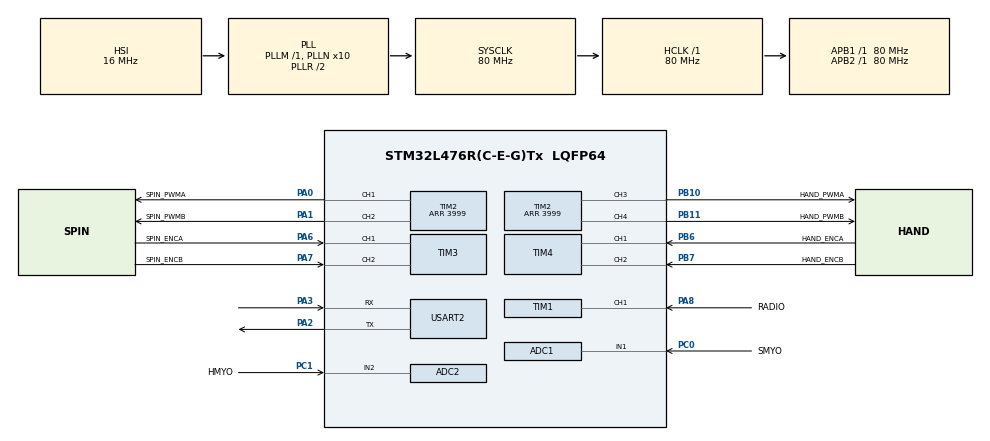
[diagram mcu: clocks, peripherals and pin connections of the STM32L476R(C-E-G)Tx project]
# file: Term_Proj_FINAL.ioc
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ADC1.Channel-1\#ChannelRegularConversion=ADC_CHANNEL_1
ADC1.NbrOfConversionFlag=1
ADC1.OffsetNumber-1\#ChannelRegularConversion=ADC_OFFSET_NONE
ADC1.Rank-1\#ChannelRegularConversion=1
ADC1.SamplingTime-1\#ChannelRegularConversion=ADC_SAMPLETIME_2CYCLES_5
ADC1.master=1
ADC2.Channel-0\#ChannelRegularConversion=ADC_CHANNEL_2
ADC2.NbrOfConversionFlag=1
ADC2.OffsetNumber-0\#ChannelRegularConversion=ADC_OFFSET_NONE
ADC2.Rank-0\#ChannelRegularConversion=1
ADC2.SamplingTime-0\#ChannelRegularConversion=ADC_SAMPLETIME_2CYCLES_5
Mcu.Family=STM32L4
Mcu.Name=STM32L476R(C-E-G)Tx
Mcu.Package=LQFP64
NVIC.PriorityGroup=NVIC_PRIORITYGROUP_4
NVIC.TIM1_CC_IRQn=true\:0\:0\:false\:false\:true\:true\:true\:true
PA0.GPIO_Label=SPIN_PWMA
PA0.Signal=S_TIM2_CH1
PA1.GPIO_Label=SPIN_PWMB
PA1.Signal=S_TIM2_CH2
PA13\ (JTMS-SWDIO).Mode=Serial_Wire
PA13\ (JTMS-SWDIO).Signal=SYS_JTMS-SWDIO
PA14\ (JTCK-SWCLK).Mode=Serial_Wire
PA14\ (JTCK-SWCLK).Signal=SYS_JTCK-SWCLK
PA2.Mode=Asynchronous
PA2.Signal=USART2_TX
PA3.Mode=Asynchronous
PA3.Signal=USART2_RX
PA6.GPIO_Label=SPIN_ENCA
PA6.Signal=S_TIM3_CH1
PA7.GPIO_Label=SPIN_ENCB
PA7.Signal=S_TIM3_CH2
PA8.GPIO_Label=RADIO
PA8.Signal=S_TIM1_CH1
PB10.GPIO_Label=HAND_PWMA
PB10.Signal=S_TIM2_CH3
PB11.GPIO_Label=HAND_PWMB
PB11.Signal=S_TIM2_CH4
PB6.GPIO_Label=HAND_ENCA
PB6.Signal=S_TIM4_CH1
PB7.GPIO_Label=HAND_ENCB
PB7.Signal=S_TIM4_CH2
PC0.GPIO_Label=SMYO
PC0.Signal=ADCx_IN1
PC1.GPIO_Label=HMYO
PC1.Signal=ADCx_IN2
PH0-OSC_IN\ (PH0).Mode=HSE-External-Clock-Source
PH0-OSC_IN\ (PH0).Signal=RCC_OSC_IN
ProjectManager.HeapSize=0x200
ProjectManager.StackSize=0x400
ProjectManager.TargetToolchain=STM32CubeIDE
RCC.ADCFreq_Value=64000000
RCC.AHBFreq_Value=80000000
RCC.APB1Freq_Value=80000000
RCC.APB1TimFreq_Value=80000000
RCC.APB2Freq_Value=80000000
RCC.APB2TimFreq_Value=80000000
RCC.CortexFreq_Value=80000000
RCC.HCLKFreq_Value=80000000
RCC.HSE_VALUE=8000000
RCC.HSI_VALUE=16000000
RCC.LSE_VALUE=32768
RCC.MSI_VALUE=4000000
RCC.PLLN=10
RCC.PLLSourceVirtual=RCC_PLLSOURCE_HSI
RCC.SYSCLKFreq_VALUE=80000000
RCC.SYSCLKSource=RCC_SYSCLKSOURCE_PLLCLK
RCC.USBFreq_Value=64000000
RCC.VCOOutputFreq_Value=160000000
SH.ADCx_IN1.0=ADC1_IN1,IN1-Single-Ended
SH.ADCx_IN2.0=ADC2_IN2,IN2-Single-Ended
SH.S_TIM1_CH1.0=TIM1_CH1,Input_Capture1_from_TI1
SH.S_TIM2_CH1.0=TIM2_CH1,PWM Generation1 CH1
SH.S_TIM2_CH2.0=TIM2_CH2,PWM Generation2 CH2
SH.S_TIM2_CH3.0=TIM2_CH3,PWM Generation3 CH3
SH.S_TIM2_CH4.0=TIM2_CH4,PWM Generation4 CH4
SH.S_TIM3_CH1.0=TIM3_CH1,Encoder_Interface
SH.S_TIM3_CH2.0=TIM3_CH2,Encoder_Interface
SH.S_TIM4_CH1.0=TIM4_CH1,Encoder_Interface
SH.S_TIM4_CH2.0=TIM4_CH2,Encoder_Interface
TIM1.Channel-Input_Capture1_from_TI1=TIM_CHANNEL_1
TIM1.Channel-Input_Capture2_from_TI1_63=TIM_CHANNEL_2
TIM1.ICPolarity_CH2=TIM_INPUTCHANNELPOLARITY_FALLING
TIM1.Prescaler=79
TIM2.Channel-PWM\ Generation1\ CH1=TIM_CHANNEL_1
TIM2.Channel-PWM\ Generation2\ CH2=TIM_CHANNEL_2
TIM2.Channel-PWM\ Generation3\ CH3=TIM_CHANNEL_3
TIM2.Channel-PWM\ Generation4\ CH4=TIM_CHANNEL_4
TIM2.Period=3999
TIM3.EncoderMode=TIM_ENCODERMODE_TI12
TIM4.EncoderMode=TIM_ENCODERMODE_TI12
USART2.VirtualMode-Asynchronous=VM_ASYNC
VP_TIM1_VS_indirect_ch1.Mode=Input_Capture2_from_TI1_63
board=custom

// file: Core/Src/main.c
/* USER CODE BEGIN Header */
/**
  ******************************************************************************
  * @file           : main.c
  * @brief          : Main program body for the ME 507 term project. The main contents of this file is the finite state machine that
  * 				  controls the prosthetic hand operation. This includes the tasks to open and close the hand and spin the hand
  * 				  from left to right. Lastly, there is a task to check for an emergency stop signal from a radio transmitter device.
  *
  * @authors		: Julia Fay & Jack Foxcroft
  *
  ******************************************************************************
  * @attention
  *
  * Copyright (c) 2024 STMicroelectronics.
  * All rights reserved.
  *
  * This software is licensed under terms that can be found in the LICENSE file
  * in the root directory of this software component.
  * If no LICENSE file comes with this software, it is provided AS-IS.
  *
  ******************************************************************************
  */
/* USER CODE END Header */
#include "main.h"

/* USER CODE BEGIN Includes */
#include "encoder_reader.h"
#include "motor_driver.h"
#include "controller.h"
#include "myo.h"
#include "calibrate.h"
#include "radio.h"
#include <stdio.h>
#include "stm32l4xx_hal.h"
#include <stdint.h>
#include <string.h>
#include <ctype.h>
#include <stdlib.h>

/* USER CODE END Includes */

ADC_HandleTypeDef hadc1;
ADC_HandleTypeDef hadc2;

TIM_HandleTypeDef htim1;
TIM_HandleTypeDef htim2;
TIM_HandleTypeDef htim3;
TIM_HandleTypeDef htim4;

UART_HandleTypeDef huart2;

/* USER CODE BEGIN PV */

//create encoder objects

	encoder_t spin_enc = {.channel1 = TIM_CHANNEL_1,
						  .channel2 = TIM_CHANNEL_2,
						  .hal_tim = &htim3,
						  .mot_pos = 0,
						  .curr_count = 0,
						  .prev_count = 0,
						  .delta = 0};

//create motor objects

	motor_t spin_mot = {.pwm_val = 0,
				.channel1 = TIM_CHANNEL_1,
				.channel2 = TIM_CHANNEL_2,
				.hal_tim = &htim2
				};

	motor_t hand_mot = {.pwm_val = 0,
					.channel1 = TIM_CHANNEL_3,
					.channel2 = TIM_CHANNEL_4,
					.hal_tim = &htim2
					};

//create controller object
	controller_t spin_cont = {.p_mot = &spin_mot,
							  .p_enc = &spin_enc,
							  .gain = 300,
							  .setpoint = 0};

//create myo objects

	myo_t smyo = {.hal_adc = &hadc1,
				  .current_value = 0};

	myo_t hmyo = {.hal_adc = &hadc2,
				  .current_value = 0};

//create calibration objects

	calibrate_t scali = {.data_pts = 1000000,
			  	  	  	 .p_myo = &smyo
					  };

	calibrate_t hcali = {.data_pts = 1000000,
				  	  	  	 .p_myo = &hmyo
						  };

//initialize variables
uint32_t smyo_tst = 0;
uint32_t hand_count_tst = 0;
int32_t spos_tst = 0;
int32_t smyo_av = 0;
uint16_t ch1_val;
uint16_t ch2_val;
uint16_t ch1_p;
uint16_t ch2_p;
uint16_t radio_pulse = 1500;

char tst_buff[150];
int m;

/* USER CODE END PV */

void SystemClock_Config(void);
void PeriphCommonClock_Config(void);
static void MX_GPIO_Init(void);
static void MX_TIM1_Init(void);
static void MX_TIM2_Init(void);
static void MX_USART2_UART_Init(void);
static void MX_ADC1_Init(void);
static void MX_TIM3_Init(void);
static void MX_TIM4_Init(void);
static void MX_ADC2_Init(void);

/* USER CODE BEGIN 0 */

/**
 * @brief Task 1 - SPIN TASK.
 *
 *   This function implements a state machine to control a motor based on input
 *   from a myoelectric sensor. The state machine has three states:
 *
 * - State 0: Initialization
 *   Initializes the motor driver, PWM channel, encoder channels, and zeroes the
 *   encoder value. Also, calibrates the myoelectric sensor to find an average
 *   value to be used as a threshold for determining motor direction.
 *
 * - State 1: Interpret Myoelectric Sensor
 *   Reads the current value from the myoelectric sensor and determines the
 *   direction of motor movement based on the sensor's value relative to a
 *   predefined threshold. Transitions to State 2 if a significant change in the
 *   sensor value is detected.
 *
 * - State 2: Move Motor
 *   Sets the motor's position based on the interpreted direction from State 1.
 *   If the sensor indicates a forward direction, the motor's setpoint is adjusted
 *   accordingly, and the motor is moved to the new setpoint. If the sensor indicates
 *   a backward direction, the motor is moved in the opposite direction. Once the
 *   motor reaches the setpoint, the state machine transitions back to State 1.
 *
 */
void task1(void) {
	static int currentState = 0;
	static char print_buff[150];
	static int n;

	static int32_t smyo_curr = 0;
	static int32_t smyo_dir = 0;
	static int32_t spin_sp = 0;
	static int32_t spin_pos = 0;
	static int32_t spin_pwm = 0;
	static int32_t smyo_av = 0;

	// State 0 - INIT_________________________________________________________________________________________
	if (currentState == 0) {

		//n = sprintf(print_buff,"\n\rTask 1, State 0\n");
		//HAL_UART_Transmit(&huart2,print_buff,n,400);

		//init the motor driver PWM channel and the
		//the encoder channels. Zero the encoder value
		controller_init(&spin_cont);

		//initialize the motor to be at rest
		set_duty(&spin_mot,0);

		//calibrate the myo sensor by finding average value to use later as threshold
		smyo_av = find_average(&scali);

		currentState = 1;}

	//State 1 - INTERPRET MYO ________________________________________________________________________________
	else if (currentState == 1) {

		n = sprintf(print_buff,"\n\rTask 1, State 1\n");
		HAL_UART_Transmit(&huart2,print_buff,n,400);

		smyo_curr = read_current(&smyo);

			if(smyo_curr > 3000){

				smyo_dir = 1;
				currentState = 2;

			}
			else if(smyo_curr < 1000){

				smyo_dir = 0;
				currentState = 2;

		}

	}

	//State 2 - MOVE MYO__________________________________________________________________________________________
	else if (currentState == 2) {

		n = sprintf(print_buff,"\n\rTask 1, State 2\n");
		HAL_UART_Transmit(&huart2,print_buff,n,400);

		spin_pos = get_pos(&spin_enc);

		n = sprintf(print_buff,"\n\rThe motor position is: %d\n", spin_pos);
		HAL_UART_Transmit(&huart2,print_buff,n,400);

		if(smyo_dir == 1){

			n = sprintf(print_buff,"\n\rThe setpoint is 465");
			HAL_UART_Transmit(&huart2,print_buff,n,400);

			spin_sp = 200;

			if(abs(spin_pos-spin_sp)<10){

				currentState = 1;
				set_duty(&spin_mot,0);
				spin_pos = 200;
			}
			else{
				 set_setpoint(&spin_cont, spin_sp);
				 spin_pwm = move(&spin_cont,1);

				 n = sprintf(print_buff,"\n\rThe motor pwm value is: %d\n", spin_pwm);
				 HAL_UART_Transmit(&huart2,print_buff,n,400);

				}
		}
		else{

			spin_sp = 0;

			n = sprintf(print_buff,"\n\rThe setpoint is 0");
			HAL_UART_Transmit(&huart2,print_buff,n,400);

			if(abs(spin_pos-spin_sp)<10){
				currentState = 1;
				set_duty(&spin_mot,0);
				spin_pos = 0;
			}
			else{
				set_setpoint(&spin_cont, spin_sp);

				spin_pwm = move(&spin_cont,1);

				n = sprintf(print_buff,"\n\rThe motor pwm value is: %d\n", spin_pwm);
				HAL_UART_Transmit(&huart2,print_buff,n,400);

			}
		}
	}

	else {

		n = sprintf(print_buff,"\n\rTask 1, Invalid State. Reset to State 1\n");
		HAL_UART_Transmit(&huart2,print_buff,n,400);

		currentState = 1;}
	//_____________________________________________________________________________________________________________
}

/**
 * @brief Task 2 - HAND TASK.
 *
 * This function implements a state machine to control a hand motor based on input
 * from a myoelectric sensor. The state machine has three states:
 *
 * - State 0: Initialization
 *   - Initializes the motor driver PWM channel.
 *   - Sets the motor to be at rest.
 *   - Calibrates the myoelectric sensor by finding an average value to use as a threshold.
 *
 * - State 1: Interpret Myoelectric Sensor
 *   - Reads the current value from the myoelectric sensor.
 *   - Determines the direction of hand movement (open or close) based on the sensor's
 *     value relative to predefined thresholds.
 *   - Transitions to State 2 if a significant change in the sensor value is detected.
 *
 * - State 2: Move Hand
 *   - Moves the hand to the open or closed position based on the interpreted direction
 *     from State 1.
 *   - If the sensor indicates to open the hand and the hand is currently closed, the hand
 *     is gradually opened by setting a positive duty cycle to the motor. The hand position
 *     is updated, and a counter ensures the hand moves incrementally.
 *   - If the sensor indicates to close the hand and the hand is currently open, the hand is
 *     gradually closed by setting a negative duty cycle to the motor. The hand position is
 *     updated, and a counter ensures the hand moves incrementally.
 *   - Once the hand reaches the desired position (fully open or fully closed), the state
 *     machine transitions back to State 1.
 *
 */
void task2(void) {
	static int currentState = 0;
	static char print_buff[150];
	static int n;

	static int32_t hmyo_curr = 0;
	static int32_t hmyo_dir = 0;
	static int32_t hand_pos = 0;
	static int32_t hmyo_av = 0;
	static int32_t hand_count = 0;

	// State 0 - INIT
	if (currentState == 0) {

		n = sprintf(print_buff,"\n\rTask 2, State 0\n");
		HAL_UART_Transmit(&huart2,print_buff,n,400);

		//init the motor driver PWM channels
		start_PWM(&hand_mot);

		//initialize the motor to be at rest
		set_duty(&hand_mot,0);

		//calibrate the myo values
		hmyo_av = find_average(&hcali);

		currentState = 1;}

	//State 1 - INTERPRET MYO
	else if (currentState == 1) {

		n = sprintf(print_buff,"\n\rTask 2, State 1\n");
		HAL_UART_Transmit(&huart2,print_buff,n,400);

		hmyo_curr = read_current(&hmyo);
		n = sprintf(print_buff,"\n\rThe myo value is : %d\n", hmyo_curr);
		HAL_UART_Transmit(&huart2,print_buff,n,400);

		if(hmyo_curr > 3000){

						hmyo_dir = 1;
						currentState = 2;

					}
					else if(hmyo_curr < 1000){

						hmyo_dir = 0;
						currentState = 2;

				}
	}

	//State 2 - MOVE MYO
	else if (currentState == 2) {

		n = sprintf(print_buff,"\n\rTask 2, State 2\n");
		HAL_UART_Transmit(&huart2,print_buff,n,400);

		if(hmyo_dir == 1 && hand_pos == 0){

			n = sprintf(print_buff,"\n\rOpen Hand");
			HAL_UART_Transmit(&huart2,print_buff,n,400);

			if(hand_count > 15){

				currentState = 1;
				set_duty(&hand_mot,0);
				hand_pos = 1000;
				hand_count = 0;

			}
			else{

				set_duty(&hand_mot,1);
				hand_count++;
			}

				}
		else if(hmyo_dir ==0 && hand_pos == 1000){

			n = sprintf(print_buff,"\n\rClose Hand");
			HAL_UART_Transmit(&huart2,print_buff,n,400);

			if(hand_count > 20){

					currentState = 1;
					set_duty(&hand_mot,0);
					hand_pos = 0;
					hand_count = 0;

						}
			else{
					set_duty(&hand_mot,-3);
					hand_count++;
				}
				}

		currentState = 1;

	}

	else {
		n = sprintf(print_buff,"\n\rTask 1, Invalid State. Reset to State 1\n");
		HAL_UART_Transmit(&huart2,print_buff,n,400);

		currentState = 1;}
}

/**
 * @brief Task 3 - WIRELESS E STOP TASK.
 *
 * This function implements a state machine to handle a wireless emergency stop (E-stop) signal.
 * The state machine has three states:
 *
 * - State 0: Initialization
 *   - Starts the timer input capture interrupt for channels 1 and 2.
 *   - Transitions to State 1 to wait for the E-stop signal.
 *
 * - State 1: Wait for Signal
 *   - Continuously monitors for an E-stop signal by checking the radio pulse.
 *   - If a valid E-stop signal is detected, it transitions to State 2 to perform the emergency stop.
 *
 * - State 2: Emergency Stop
 *   - Outputs an emergency stop message.
 *   - Stops the motors by setting their duty cycles to zero.
 *   - Deinitializes the motor controller and stops the PWM signals.
 *   - Remains in this state after performing the emergency stop.
 *
 */
void task3(void) {
	static int currentState = 0;
	static char print_buff[150];
	static int n;

	// State 0 - INIT__________________________________________________________________
	if (currentState == 0) {

		//n = sprintf(print_buff,"\n\rTask 3, State 0\n");
		//HAL_UART_Transmit(&huart2,print_buff,n,400);

		HAL_TIM_IC_Start_IT (&htim1, TIM_CHANNEL_1);
		HAL_TIM_IC_Start_IT (&htim1, TIM_CHANNEL_2);

		currentState = 1;}

	//State 1 - WAIT FOR SIG_________________________________________________________
	else if (currentState == 1) {

		n = sprintf(print_buff,"\n\rTask 3, State 1\n");
		HAL_UART_Transmit(&huart2,print_buff,n,400);

		n = sprintf(print_buff,"\n\rThe radio pulse is: %d\n",radio_pulse);
		HAL_UART_Transmit(&huart2,print_buff,n,400);

		if(check_delta(radio_pulse) == 1)
			  {
				currentState = 2;
			  }
}

	//State 2 - STOP_________________________________________________________________
	else if (currentState == 2) {

		n = sprintf(print_buff,"\n\rTask 3, State 2 EMERGENCY STOP\n");
		HAL_UART_Transmit(&huart2,print_buff,n,400);

		//call deinit commands
		set_duty(&spin_mot,0);
		controller_deinit(&spin_cont);

		set_duty(&hand_mot,0);
		stop_PWM(&hand_mot);

		}

	else {
		n = sprintf(print_buff,"\n\rTask 3, Invalid State. Reset to State 1\n");
		HAL_UART_Transmit(&huart2,print_buff,n,400);
		currentState = 1;
	}
}

/* USER CODE END 0 */

int main(void)
{

  /* MCU Configuration--------------------------------------------------------*/

  /* Reset of all peripherals, Initializes the Flash interface and the Systick. */
  HAL_Init();

  /* Configure the system clock */
  SystemClock_Config();

/* Configure the peripherals common clocks */
  PeriphCommonClock_Config();

  /* Initialize all configured peripherals */
  MX_GPIO_Init();
  MX_TIM1_Init();
  MX_TIM2_Init();
  MX_USART2_UART_Init();
  MX_ADC1_Init();
  MX_TIM3_Init();
  MX_TIM4_Init();
  MX_ADC2_Init();

  /* Infinite loop */
  /* USER CODE BEGIN WHILE */
  while (1)
  {
	 task1();
	 task2();
	 task3();

    /* USER CODE END WHILE */

  }
}

void SystemClock_Config(void)
{
  RCC_OscInitTypeDef RCC_OscInitStruct = {0};
  RCC_ClkInitTypeDef RCC_ClkInitStruct = {0};

  /** Configure the main internal regulator output voltage
  */
  if (HAL_PWREx_ControlVoltageScaling(PWR_REGULATOR_VOLTAGE_SCALE1) != HAL_OK)
  {
    Error_Handler();
  }

  /** Initializes the RCC Oscillators according to the specified parameters
  * in the RCC_OscInitTypeDef structure.
  */
  RCC_OscInitStruct.OscillatorType = RCC_OSCILLATORTYPE_HSI;
  RCC_OscInitStruct.HSIState = RCC_HSI_ON;
  RCC_OscInitStruct.HSICalibrationValue = RCC_HSICALIBRATION_DEFAULT;
  RCC_OscInitStruct.PLL.PLLState = RCC_PLL_ON;
  RCC_OscInitStruct.PLL.PLLSource = RCC_PLLSOURCE_HSI;
  RCC_OscInitStruct.PLL.PLLM = 1;
  RCC_OscInitStruct.PLL.PLLN = 10;
  RCC_OscInitStruct.PLL.PLLP = RCC_PLLP_DIV7;
  RCC_OscInitStruct.PLL.PLLQ = RCC_PLLQ_DIV2;
  RCC_OscInitStruct.PLL.PLLR = RCC_PLLR_DIV2;
  if (HAL_RCC_OscConfig(&RCC_OscInitStruct) != HAL_OK)
  {
    Error_Handler();
  }

  /** Initializes the CPU, AHB and APB buses clocks
  */
  RCC_ClkInitStruct.ClockType = RCC_CLOCKTYPE_HCLK|RCC_CLOCKTYPE_SYSCLK
                              |RCC_CLOCKTYPE_PCLK1|RCC_CLOCKTYPE_PCLK2;
  RCC_ClkInitStruct.SYSCLKSource = RCC_SYSCLKSOURCE_PLLCLK;
  RCC_ClkInitStruct.AHBCLKDivider = RCC_SYSCLK_DIV1;
  RCC_ClkInitStruct.APB1CLKDivider = RCC_HCLK_DIV1;
  RCC_ClkInitStruct.APB2CLKDivider = RCC_HCLK_DIV1;

  if (HAL_RCC_ClockConfig(&RCC_ClkInitStruct, FLASH_LATENCY_4) != HAL_OK)
  {
    Error_Handler();
  }
}

void PeriphCommonClock_Config(void)
{
  RCC_PeriphCLKInitTypeDef PeriphClkInit = {0};

  /** Initializes the peripherals clock
  */
  PeriphClkInit.PeriphClockSelection = RCC_PERIPHCLK_ADC;
  PeriphClkInit.AdcClockSelection = RCC_ADCCLKSOURCE_PLLSAI1;
  PeriphClkInit.PLLSAI1.PLLSAI1Source = RCC_PLLSOURCE_HSI;
  PeriphClkInit.PLLSAI1.PLLSAI1M = 1;
  PeriphClkInit.PLLSAI1.PLLSAI1N = 8;
  PeriphClkInit.PLLSAI1.PLLSAI1P = RCC_PLLP_DIV7;
  PeriphClkInit.PLLSAI1.PLLSAI1Q = RCC_PLLQ_DIV2;
  PeriphClkInit.PLLSAI1.PLLSAI1R = RCC_PLLR_DIV2;
  PeriphClkInit.PLLSAI1.PLLSAI1ClockOut = RCC_PLLSAI1_ADC1CLK;
  if (HAL_RCCEx_PeriphCLKConfig(&PeriphClkInit) != HAL_OK)
  {
    Error_Handler();
  }
}

static void MX_ADC1_Init(void)
{

  ADC_MultiModeTypeDef multimode = {0};
  ADC_ChannelConfTypeDef sConfig = {0};

  /** Common config
  */
  hadc1.Instance = ADC1;
  hadc1.Init.ClockPrescaler = ADC_CLOCK_ASYNC_DIV1;
  hadc1.Init.Resolution = ADC_RESOLUTION_12B;
  hadc1.Init.DataAlign = ADC_DATAALIGN_RIGHT;
  hadc1.Init.ScanConvMode = ADC_SCAN_DISABLE;
  hadc1.Init.EOCSelection = ADC_EOC_SINGLE_CONV;
  hadc1.Init.LowPowerAutoWait = DISABLE;
  hadc1.Init.ContinuousConvMode = DISABLE;
  hadc1.Init.NbrOfConversion = 1;
  hadc1.Init.DiscontinuousConvMode = DISABLE;
  hadc1.Init.ExternalTrigConv = ADC_SOFTWARE_START;
  hadc1.Init.ExternalTrigConvEdge = ADC_EXTERNALTRIGCONVEDGE_NONE;
  hadc1.Init.DMAContinuousRequests = DISABLE;
  hadc1.Init.Overrun = ADC_OVR_DATA_PRESERVED;
  hadc1.Init.OversamplingMode = DISABLE;
  if (HAL_ADC_Init(&hadc1) != HAL_OK)
  {
    Error_Handler();
  }

  /** Configure the ADC multi-mode
  */
  multimode.Mode = ADC_MODE_INDEPENDENT;
  if (HAL_ADCEx_MultiModeConfigChannel(&hadc1, &multimode) != HAL_OK)
  {
    Error_Handler();
  }

  /** Configure Regular Channel
  */
  sConfig.Channel = ADC_CHANNEL_1;
  sConfig.Rank = ADC_REGULAR_RANK_1;
  sConfig.SamplingTime = ADC_SAMPLETIME_2CYCLES_5;
  sConfig.SingleDiff = ADC_SINGLE_ENDED;
  sConfig.OffsetNumber = ADC_OFFSET_NONE;
  sConfig.Offset = 0;
  if (HAL_ADC_ConfigChannel(&hadc1, &sConfig) != HAL_OK)
  {
    Error_Handler();
  }

}

static void MX_ADC2_Init(void)
{

  ADC_ChannelConfTypeDef sConfig = {0};

  /** Common config
  */
  hadc2.Instance = ADC2;
  hadc2.Init.ClockPrescaler = ADC_CLOCK_ASYNC_DIV1;
  hadc2.Init.Resolution = ADC_RESOLUTION_12B;
  hadc2.Init.DataAlign = ADC_DATAALIGN_RIGHT;
  hadc2.Init.ScanConvMode = ADC_SCAN_DISABLE;
  hadc2.Init.EOCSelection = ADC_EOC_SINGLE_CONV;
  hadc2.Init.LowPowerAutoWait = DISABLE;
  hadc2.Init.ContinuousConvMode = DISABLE;
  hadc2.Init.NbrOfConversion = 1;
  hadc2.Init.DiscontinuousConvMode = DISABLE;
  hadc2.Init.ExternalTrigConv = ADC_SOFTWARE_START;
  hadc2.Init.ExternalTrigConvEdge = ADC_EXTERNALTRIGCONVEDGE_NONE;
  hadc2.Init.DMAContinuousRequests = DISABLE;
  hadc2.Init.Overrun = ADC_OVR_DATA_PRESERVED;
  hadc2.Init.OversamplingMode = DISABLE;
  if (HAL_ADC_Init(&hadc2) != HAL_OK)
  {
    Error_Handler();
  }

  /** Configure Regular Channel
  */
  sConfig.Channel = ADC_CHANNEL_2;
  sConfig.Rank = ADC_REGULAR_RANK_1;
  sConfig.SamplingTime = ADC_SAMPLETIME_2CYCLES_5;
  sConfig.SingleDiff = ADC_SINGLE_ENDED;
  sConfig.OffsetNumber = ADC_OFFSET_NONE;
  sConfig.Offset = 0;
  if (HAL_ADC_ConfigChannel(&hadc2, &sConfig) != HAL_OK)
  {
    Error_Handler();
  }

}

static void MX_TIM1_Init(void)
{

  TIM_MasterConfigTypeDef sMasterConfig = {0};
  TIM_IC_InitTypeDef sConfigIC = {0};

  htim1.Instance = TIM1;
  htim1.Init.Prescaler = 79;
  htim1.Init.CounterMode = TIM_COUNTERMODE_UP;
  htim1.Init.Period = 65535;
  htim1.Init.ClockDivision = TIM_CLOCKDIVISION_DIV1;
  htim1.Init.RepetitionCounter = 0;
  htim1.Init.AutoReloadPreload = TIM_AUTORELOAD_PRELOAD_DISABLE;
  if (HAL_TIM_IC_Init(&htim1) != HAL_OK)
  {
    Error_Handler();
  }
  sMasterConfig.MasterOutputTrigger = TIM_TRGO_RESET;
  sMasterConfig.MasterOutputTrigger2 = TIM_TRGO2_RESET;
  sMasterConfig.MasterSlaveMode = TIM_MASTERSLAVEMODE_DISABLE;
  if (HAL_TIMEx_MasterConfigSynchronization(&htim1, &sMasterConfig) != HAL_OK)
  {
    Error_Handler();
  }
  sConfigIC.ICPolarity = TIM_INPUTCHANNELPOLARITY_RISING;
  sConfigIC.ICSelection = TIM_ICSELECTION_DIRECTTI;
  sConfigIC.ICPrescaler = TIM_ICPSC_DIV1;
  sConfigIC.ICFilter = 0;
  if (HAL_TIM_IC_ConfigChannel(&htim1, &sConfigIC, TIM_CHANNEL_1) != HAL_OK)
  {
    Error_Handler();
  }
  sConfigIC.ICPolarity = TIM_INPUTCHANNELPOLARITY_FALLING;
  sConfigIC.ICSelection = TIM_ICSELECTION_INDIRECTTI;
  if (HAL_TIM_IC_ConfigChannel(&htim1, &sConfigIC, TIM_CHANNEL_2) != HAL_OK)
  {
    Error_Handler();
  }

}

static void MX_TIM2_Init(void)
{

  TIM_MasterConfigTypeDef sMasterConfig = {0};
  TIM_OC_InitTypeDef sConfigOC = {0};

  htim2.Instance = TIM2;
  htim2.Init.Prescaler = 0;
  htim2.Init.CounterMode = TIM_COUNTERMODE_UP;
  htim2.Init.Period = 3999;
  htim2.Init.ClockDivision = TIM_CLOCKDIVISION_DIV1;
  htim2.Init.AutoReloadPreload = TIM_AUTORELOAD_PRELOAD_DISABLE;
  if (HAL_TIM_PWM_Init(&htim2) != HAL_OK)
  {
    Error_Handler();
  }
  sMasterConfig.MasterOutputTrigger = TIM_TRGO_RESET;
  sMasterConfig.MasterSlaveMode = TIM_MASTERSLAVEMODE_DISABLE;
  if (HAL_TIMEx_MasterConfigSynchronization(&htim2, &sMasterConfig) != HAL_OK)
  {
    Error_Handler();
  }
  sConfigOC.OCMode = TIM_OCMODE_PWM1;
  sConfigOC.Pulse = 0;
  sConfigOC.OCPolarity = TIM_OCPOLARITY_HIGH;
  sConfigOC.OCFastMode = TIM_OCFAST_DISABLE;
  if (HAL_TIM_PWM_ConfigChannel(&htim2, &sConfigOC, TIM_CHANNEL_1) != HAL_OK)
  {
    Error_Handler();
  }
  if (HAL_TIM_PWM_ConfigChannel(&htim2, &sConfigOC, TIM_CHANNEL_2) != HAL_OK)
  {
    Error_Handler();
  }
  if (HAL_TIM_PWM_ConfigChannel(&htim2, &sConfigOC, TIM_CHANNEL_3) != HAL_OK)
  {
    Error_Handler();
  }
  if (HAL_TIM_PWM_ConfigChannel(&htim2, &sConfigOC, TIM_CHANNEL_4) != HAL_OK)
  {
    Error_Handler();
  }
  HAL_TIM_MspPostInit(&htim2);

}

static void MX_TIM3_Init(void)
{

  TIM_Encoder_InitTypeDef sConfig = {0};
  TIM_MasterConfigTypeDef sMasterConfig = {0};

  htim3.Instance = TIM3;
  htim3.Init.Prescaler = 0;
  htim3.Init.CounterMode = TIM_COUNTERMODE_UP;
  htim3.Init.Period = 65535;
  htim3.Init.ClockDivision = TIM_CLOCKDIVISION_DIV1;
  htim3.Init.AutoReloadPreload = TIM_AUTORELOAD_PRELOAD_DISABLE;
  sConfig.EncoderMode = TIM_ENCODERMODE_TI12;
  sConfig.IC1Polarity = TIM_ICPOLARITY_RISING;
  sConfig.IC1Selection = TIM_ICSELECTION_DIRECTTI;
  sConfig.IC1Prescaler = TIM_ICPSC_DIV1;
  sConfig.IC1Filter = 0;
  sConfig.IC2Polarity = TIM_ICPOLARITY_RISING;
  sConfig.IC2Selection = TIM_ICSELECTION_DIRECTTI;
  sConfig.IC2Prescaler = TIM_ICPSC_DIV1;
  sConfig.IC2Filter = 0;
  if (HAL_TIM_Encoder_Init(&htim3, &sConfig) != HAL_OK)
  {
    Error_Handler();
  }
  sMasterConfig.MasterOutputTrigger = TIM_TRGO_RESET;
  sMasterConfig.MasterSlaveMode = TIM_MASTERSLAVEMODE_DISABLE;
  if (HAL_TIMEx_MasterConfigSynchronization(&htim3, &sMasterConfig) != HAL_OK)
  {
    Error_Handler();
  }

}

static void MX_TIM4_Init(void)
{

  TIM_Encoder_InitTypeDef sConfig = {0};
  TIM_MasterConfigTypeDef sMasterConfig = {0};

  htim4.Instance = TIM4;
  htim4.Init.Prescaler = 0;
  htim4.Init.CounterMode = TIM_COUNTERMODE_UP;
  htim4.Init.Period = 65535;
  htim4.Init.ClockDivision = TIM_CLOCKDIVISION_DIV1;
  htim4.Init.AutoReloadPreload = TIM_AUTORELOAD_PRELOAD_DISABLE;
  sConfig.EncoderMode = TIM_ENCODERMODE_TI12;
  sConfig.IC1Polarity = TIM_ICPOLARITY_RISING;
  sConfig.IC1Selection = TIM_ICSELECTION_DIRECTTI;
  sConfig.IC1Prescaler = TIM_ICPSC_DIV1;
  sConfig.IC1Filter = 0;
  sConfig.IC2Polarity = TIM_ICPOLARITY_RISING;
  sConfig.IC2Selection = TIM_ICSELECTION_DIRECTTI;
  sConfig.IC2Prescaler = TIM_ICPSC_DIV1;
  sConfig.IC2Filter = 0;
  if (HAL_TIM_Encoder_Init(&htim4, &sConfig) != HAL_OK)
  {
    Error_Handler();
  }
  sMasterConfig.MasterOutputTrigger = TIM_TRGO_RESET;
  sMasterConfig.MasterSlaveMode = TIM_MASTERSLAVEMODE_DISABLE;
  if (HAL_TIMEx_MasterConfigSynchronization(&htim4, &sMasterConfig) != HAL_OK)
  {
    Error_Handler();
  }

}

static void MX_USART2_UART_Init(void)
{

  huart2.Instance = USART2;
  huart2.Init.BaudRate = 115200;
  huart2.Init.WordLength = UART_WORDLENGTH_8B;
  huart2.Init.StopBits = UART_STOPBITS_1;
  huart2.Init.Parity = UART_PARITY_NONE;
  huart2.Init.Mode = UART_MODE_TX_RX;
  huart2.Init.HwFlowCtl = UART_HWCONTROL_NONE;
  huart2.Init.OverSampling = UART_OVERSAMPLING_16;
  huart2.Init.OneBitSampling = UART_ONE_BIT_SAMPLE_DISABLE;
  huart2.AdvancedInit.AdvFeatureInit = UART_ADVFEATURE_NO_INIT;
  if (HAL_UART_Init(&huart2) != HAL_OK)
  {
    Error_Handler();
  }

}

static void MX_GPIO_Init(void)
{

  /* GPIO Ports Clock Enable */
  __HAL_RCC_GPIOH_CLK_ENABLE();
  __HAL_RCC_GPIOC_CLK_ENABLE();
  __HAL_RCC_GPIOA_CLK_ENABLE();
  __HAL_RCC_GPIOB_CLK_ENABLE();

}

/* USER CODE BEGIN 4 */

/**
  * @brief  Input Capture callback in non-blocking mode. This callback routine calculates the
  * 		radio transmitted pulse width in ms.
  *
  * @param  htim TIM IC handle
  * @retval None
  */
void HAL_TIM_IC_CaptureCallback(TIM_HandleTypeDef *htim)
{
  /* Prevent unused argument(s) compilation warning */
  UNUSED(htim);

  /* NOTE : This function should not be modified, when the callback is needed,
   *        the HAL_TIM_IC_CaptureCallback could be implemented in the user file.
   */
  if (htim->Channel == HAL_TIM_ACTIVE_CHANNEL_2) {
          //store the previous value and read the captured value from the input capture register
	  	  ch1_p = HAL_TIM_ReadCapturedValue(htim, TIM_CHANNEL_1);
	      ch1_val = HAL_TIM_ReadCapturedValue(htim, TIM_CHANNEL_2);

	      //calculate the width of the pwm pulse generated by the radio transmitter
	      radio_pulse = ch1_val - ch1_p;
  }

}

/* USER CODE END 4 */

void Error_Handler(void)
{
  __disable_irq();
  while (1)
  {
  }
}
